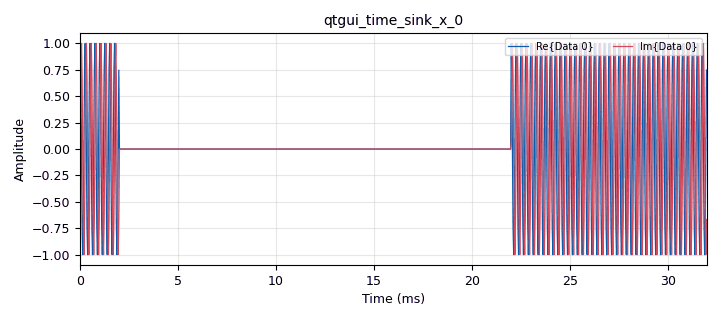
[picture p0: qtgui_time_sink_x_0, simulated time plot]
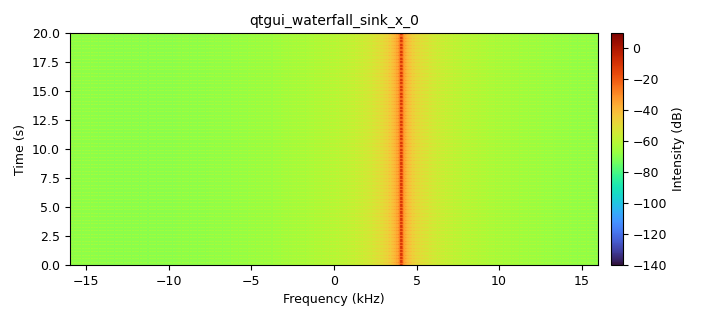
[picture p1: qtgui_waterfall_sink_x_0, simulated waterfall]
options:
  parameters:
    author: soram
    generate_options: qt_gui
    id: Create_ask
    output_language: python
    title: Not titled yet
  states: {}

blocks:
- name: samp_rate
  id: variable
  parameters:
    value: '32000'
  states: {}
- name: analog_sig_source_x_0
  id: analog_sig_source_x
  parameters:
    amp: '1'
    freq: '100000'
    offset: '0'
    phase: '0'
    samp_rate: samp_rate
    type: complex
    waveform: analog.GR_SIN_WAVE
  states: {}
- name: blocks_multiply_xx_0
  id: blocks_multiply_xx
  parameters:
    type: complex
  states: {}
- name: blocks_repeat_0
  id: blocks_repeat
  parameters:
    interp: '320'
    type: complex
  states: {}
- name: blocks_throttle2_0
  id: blocks_throttle2
  parameters:
    samples_per_second: samp_rate
    type: complex
  states: {}
- name: blocks_vector_source_x_0
  id: blocks_vector_source_x
  parameters:
    repeat: 'True'
    type: complex
    vector: (1, 1, 0, 1, 0, 0)
  states: {}
- name: qtgui_time_sink_x_0
  id: qtgui_time_sink_x
  parameters:
    autoscale: 'True'
    size: '1024'
    srate: samp_rate
    type: complex
  states: {}
- name: qtgui_waterfall_sink_x_0
  id: qtgui_waterfall_sink_x
  parameters:
    bw: samp_rate
    fc: '0'
    fftsize: '1024'
    type: complex
  states: {}

connections:
- [analog_sig_source_x_0, '0', blocks_multiply_xx_0, '1']
- [blocks_multiply_xx_0, '0', blocks_throttle2_0, '0']
- [blocks_repeat_0, '0', blocks_multiply_xx_0, '0']
- [blocks_throttle2_0, '0', qtgui_time_sink_x_0, '0']
- [blocks_throttle2_0, '0', qtgui_waterfall_sink_x_0, '0']
- [blocks_vector_source_x_0, '0', blocks_repeat_0, '0']

metadata:
  file_format: 1
  grc_version: 3.10.12.0
